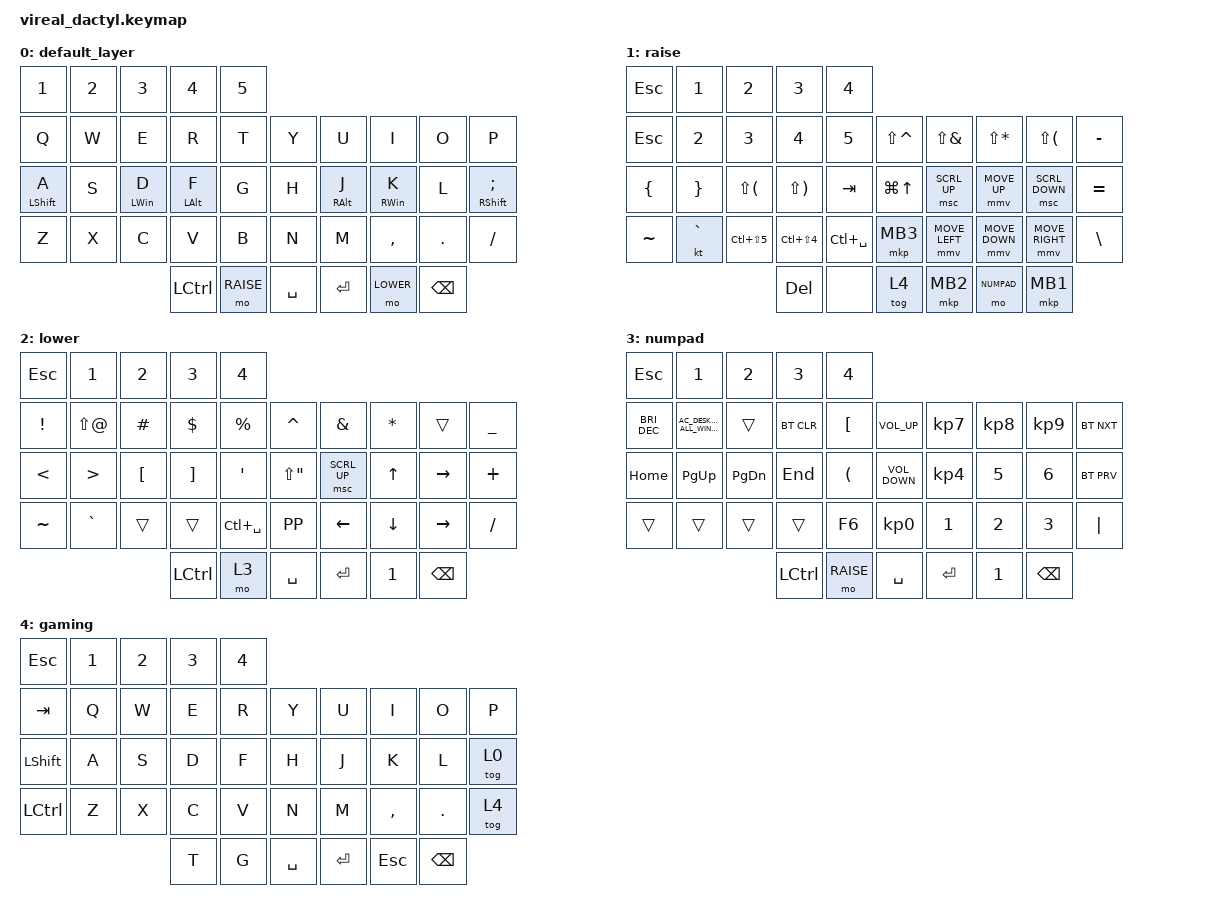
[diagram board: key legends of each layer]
#define ZMK_POINTING_DEFAULT_MOVE_VAL 600  // default: 600
#define ZMK_POINTING_DEFAULT_SCRL_VAL 10    // default: 10

#include <behaviors.dtsi>
#include <dt-bindings/zmk/bt.h>
#include <dt-bindings/zmk/keys.h>
#include <dt-bindings/zmk/pointing.h>

#define DEFAULT 0
#define RAISE   1
#define LOWER   2
#define NUMPAD  3
#define GAMING  4

/ {
    keymap {
        compatible = "zmk,keymap";

        default_layer {
            // Commented layout is not actual layout.
            // -------------------------------------------------------------------------------------------------------------------------
            // |   TAB   |    Q    |    W    |    E    |    R    |    T    |                   |    Y    |    U    |    I    |    O    |    P    |
            // |  LALT   |    A    |    S    |    D    |    F    |    G    |                   |    H    |    J    |    K    |    L    |    ;    |
            // |  LCTRL  |    Z    |    X    |    C    |    V    |    B    |                   |    N    |    M    |    ,    |    .    |    /    |
            //                              |    LCTRL | MO lay 1| SPACE   |                   | ENTER   | Lower | BSPC

            bindings = <
&kp NUMBER_1      &kp NUMBER_2  &kp NUMBER_3    &kp NUMBER_4    &kp N5

&kp Q             &kp W         &kp E           &kp R           &kp T                 &kp Y  &kp U            &kp I            &kp O     &kp P

&mt LEFT_SHIFT A  &kp S         &mt LEFT_WIN D  &mt LEFT_ALT F  &kp G                 &kp H  &mt RIGHT_ALT J  &mt RIGHT_WIN K  &kp L     &mt RIGHT_SHIFT SEMICOLON

&kp Z             &kp X         &kp C           &kp V           &kp B                 &kp N  &kp M            &kp COMMA        &kp DOT   &kp FSLH

                                                &kp LCTRL       &mo RAISE  &kp SPACE         &kp ENTER        &mo LOWER        &kp BSPC
            >;
        };

        raise {
            // commented layout is not actual layout.
            // -------------------------------------------------------------------------------------------------------------------------
            // |   tab   |    q    |    w    |    e    |    r    |    t    |                   |    y    |    u    |    i    |    o    |    p    |
            // |  lalt   |    a    |    s    |    d    |    f    |    g    |                   |    h    |    j    |    k    |    l    |    ;    |
            // |  lctrl  |    z    |    x    |    c    |    v    |    b    |                   |    n    |    m    |    ,    |    .    |    /    |
            //                              |    LCTRL | MO lay 1| SPACE   |                   | ENTER   | Lower | BSPC

            bindings = <
&kp ESC         &kp NUMBER_1     &kp NUMBER_2    &kp NUMBER_3          &kp NUMBER_4

&kp ESC         &kp NUMBER_2     &kp NUMBER_3    &kp NUMBER_4          &kp N5                 &kp LS(CARET)  &kp LS(AMPS)    &kp LS(STAR)    &kp LS(LPAR)     &kp MINUS

&kp LEFT_BRACE  &kp RIGHT_BRACE  &kp LS(LPAR)    &kp LS(RPAR)          &kp TAB                &kp LG(UP)     &msc SCRL_UP    &mmv MOVE_UP    &msc SCRL_DOWN   &kp EQUAL

&kp TILDE       &kt GRAVE        &kp LC(LS(N5))  &kp LC(LS(NUMBER_4))  &kp LC(SPACE)          &mkp MB3       &mmv MOVE_LEFT  &mmv MOVE_DOWN  &mmv MOVE_RIGHT  &kp BSLH

                                                 &kp DEL               &none          &tog 4                 &mkp MB2        &mo NUMPAD      &mkp MB1
            >;
        };

        lower {
            // commented layout is not actual layout.
            // -------------------------------------------------------------------------------------------------------------------------
            // |   tab   |    q    |    w    |    e    |    r    |    t    |                   |    y    |    u    |    i    |    o    |    p    |
            // |  lalt   |    a    |    s    |    d    |    f    |    g    |                   |    h    |    j    |    k    |    l    |    ;    |
            // |  lctrl  |    z    |    x    |    c    |    v    |    b    |                   |    n    |    m    |    ,    |    .    |    /    |
            //                               |    LCTRL | MO lay 1| SPACE  |                   | ENTER   | Lower | BSPC

            bindings = <
&kp ESC          &kp NUMBER_1      &kp NUMBER_2      &kp NUMBER_3       &kp NUMBER_4

&kp EXCLAMATION  &kp LS(AT_SIGN)   &kp HASH          &kp DOLLAR         &kp PERCENT               &kp CARET    &kp AMPS      &kp ASTERISK  &trans     &kp UNDER

&kp LESS_THAN    &kp GREATER_THAN  &kp LEFT_BRACKET  &kp RIGHT_BRACKET  &kp SQT                   &kp LS(DQT)  &msc SCRL_UP  &kp UP        &kp RIGHT  &kp PLUS

&kp TILDE        &kp GRAVE         &trans            &trans             &kp LC(SPACE)             &kp K_PP     &kp LEFT      &kp DOWN      &kp RIGHT  &kp FSLH

                                                     &kp LCTRL          &mo 3          &kp SPACE               &kp ENTER     &kp 1         &kp BSPC
            >;
        };

        numpad {
            // commented layout is not actual layout.
            // -------------------------------------------------------------------------------------------------------------------------
            // |   tab   |    q    |    w    |    e    |    r    |    t    |                   |    y    |    u    |    i    |    o    |    p    |
            // |  lalt   |    a    |    s    |    d    |    f    |    g    |                   |    h    |    j    |    k    |    l    |    ;    |
            // |  lctrl  |    z    |    x    |    c    |    v    |    b    |                   |    n    |    m    |    ,    |    .    |    /    |
            //                               |    LCTRL | MO lay 1| SPACE  |                   | ENTER   | Lower | BSPC

            bindings = <
&kp ESC        &kp NUMBER_1                       &kp NUMBER_2  &kp NUMBER_3  &kp NUMBER_4

&kp C_BRI_DEC  &kp C_AC_DESKTOP_SHOW_ALL_WINDOWS  &trans        &bt BT_CLR    &kp LBKT                 &kp K_VOLUME_UP    &kp KP_NUMBER_7  &kp KP_NUMBER_8  &kp KP_NUMBER_9  &bt BT_NXT

&kp HOME       &kp PG_UP                          &kp PG_DN     &kp END       &kp LPAR                 &kp K_VOLUME_DOWN  &kp KP_NUMBER_4  &kp N5           &kp N6           &bt BT_PRV

&trans         &trans                             &trans        &trans        &kp F6                   &kp KP_NUMBER_0    &kp N1           &kp N2           &kp N3           &kp PIPE

                                                                &kp LCTRL     &mo RAISE     &kp SPACE                     &kp ENTER        &kp 1            &kp BSPC
            >;
        };

        gaming {
            bindings = <
&kp ESC    &kp NUMBER_1  &kp NUMBER_2  &kp NUMBER_3  &kp NUMBER_4

&kp TAB    &kp Q         &kp W         &kp E         &kp R                    &kp Y  &kp U    &kp I      &kp O     &kp P

&kp LSHFT  &kp A         &kp S         &kp D         &kp F                    &kp H  &kp J    &kp K      &kp L     &tog 0

&kp LCTRL  &kp Z         &kp X         &kp C         &kp V                    &kp N  &kp M    &kp COMMA  &kp DOT   &tog 4

                                       &kp T         &kp G         &kp SPACE         &kp RET  &kp ESC    &kp BSPC
            >;
        };
    };
};
